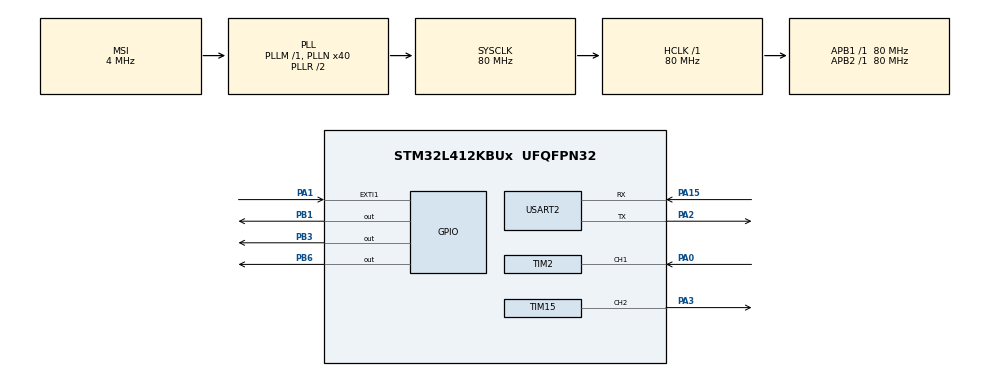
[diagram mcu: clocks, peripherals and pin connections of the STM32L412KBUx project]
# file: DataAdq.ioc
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Mcu.Family=STM32L4
Mcu.Name=STM32L412KBUx
Mcu.Package=UFQFPN32
NVIC.EXTI1_IRQn=true\:0\:0\:false\:false\:true\:true\:true
NVIC.PriorityGroup=NVIC_PRIORITYGROUP_4
NVIC.TIM6_IRQn=true\:0\:0\:false\:false\:true\:true\:true
NVIC.USART2_IRQn=true\:0\:0\:false\:false\:true\:true\:true
PA0-CK_IN.Signal=S_TIM2_CH1
PA1.GPIO_ModeDefaultEXTI=GPIO_MODE_IT_FALLING
PA1.Signal=GPXTI1
PA15\ (JTDI).Mode=Asynchronous
PA15\ (JTDI).Signal=USART2_RX
PA2.Mode=Asynchronous
PA2.Signal=USART2_TX
PA3.Signal=S_TIM15_CH2
PB1.Signal=GPIO_Output
PB3\ (JTDO/TRACESWO).Signal=GPIO_Output
PB6.Signal=GPIO_Output
ProjectManager.HeapSize=0x200
ProjectManager.StackSize=0x400
ProjectManager.TargetToolchain=MDK-ARM V5.32
RCC.ADCFreq_Value=80000000
RCC.AHBFreq_Value=80000000
RCC.APB1Freq_Value=80000000
RCC.APB1TimFreq_Value=80000000
RCC.APB2Freq_Value=80000000
RCC.APB2TimFreq_Value=80000000
RCC.CortexFreq_Value=80000000
RCC.HCLKFreq_Value=80000000
RCC.HSE_VALUE=8000000
RCC.HSI48_VALUE=48000000
RCC.HSI_VALUE=16000000
RCC.LSE_VALUE=32768
RCC.MSI_VALUE=4000000
RCC.PLLN=40
RCC.SYSCLKFreq_VALUE=80000000
RCC.SYSCLKSource=RCC_SYSCLKSOURCE_PLLCLK
RCC.USBFreq_Value=4000000
RCC.VCOOutputFreq_Value=160000000
SH.S_TIM15_CH2.0=TIM15_CH2,PWM Generation2 CH2
SH.S_TIM2_CH1.0=TIM2_CH1,TriggerSource_TI1FP1
TIM15.Channel-PWM\ Generation2\ CH2=TIM_CHANNEL_2
TIM15.Period=400-1
TIM15.Prescaler=8-1
TIM6.Period=4000-1
TIM6.Prescaler=80-1
USART2.VirtualMode-Asynchronous=VM_ASYNC
VP_TIM2_VS_ControllerModeClock.Mode=Clock Mode
VP_TIM6_VS_ClockSourceINT.Mode=Enable_Timer
board=custom

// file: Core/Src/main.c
/* USER CODE BEGIN Header */
/**
  ******************************************************************************
  * @file           : main.c
  * @brief          : Main program body
  ******************************************************************************
  * @attention
  *
  * <h2><center>&copy; Copyright (c) 2021 STMicroelectronics.
  * All rights reserved.</center></h2>
  *
  * This software component is licensed by ST under BSD 3-Clause license,
  * the "License"; You may not use this file except in compliance with the
  * License. You may obtain a copy of the License at:
  *                        opensource.org/licenses/BSD-3-Clause
  *
  ******************************************************************************
  */
/* USER CODE END Header */
#include "main.h"
#include "tim.h"
#include "usart.h"
#include "gpio.h"

/* USER CODE BEGIN Includes */
#include <stdio.h>
#include <string.h>
#include <stdlib.h>
/* USER CODE END Includes */

/* USER CODE BEGIN PM */
#define S						120									//cantidad de pulsos por vuelta
#define Ts					20E-3								//tiempo de muestreo
/* USER CODE END PM */

/* USER CODE BEGIN PV */
uint32_t 	pulse;												//pulsos del encoder
float			rpm;													//RPM
float 		radS;													//velocidad en rad/s
float ref	 = 20;															//referencia
uint16_t U;															//valor uk calculado
char buffer[100];
uint8_t byte;
uint8_t i;
uint8_t state = 1;
/*esta estructuca contiene las variables presentes y pasadas del controlador*/
typedef struct{
	/*error*/
	float ePresent;
	float ePast;     //ek_1
	/*termino proporcional*/
	float PPresent;
	/*termino integral*/
	float IPresent;
	float IPast;
	/*termino derivativo*/
	float DPresent;
	float DPast;
	/*salida medida*/
	float yPresent;
	float yPast;
	/*salida del wind up*/
	float wPresent;
	float wPast;
	/*salida del saturador*/
	float uPresent;
	float uPast;
	/*salida del controlador*/
	float vPresent;
	float vPast;
	/*valores maximos y minimos del saturador*/
	uint16_t Vmax;
	uint16_t Vmin;
}PID_Def_t;

PID_Def_t MOTOR_DC;

/* USER CODE END PV */

void SystemClock_Config(void);
/* USER CODE BEGIN PFP */
/**
 * @brief esta funcion inicializa algunos parametros de PID_Def_t
 * @param PID_Def_t
 * @param vMax : valor maximo del saturador
 * @param vMin : valor minimo del saturador
*/
void PID_Config(PID_Def_t *pPID, uint16_t vMin,uint16_t vMax);

/**
 * @brief esta funcion calcula el valor u(k)
 * @param PID_Def_t
 * @param y  : valor de la velocidad medida en Ts
 * @retval u : retorna el valor de u(k)
*/
uint16_t Calculate_PID(PID_Def_t *pPID,float r, float y);

/* USER CODE END PFP */

int main(void)
{

  /* MCU Configuration--------------------------------------------------------*/

  /* Reset of all peripherals, Initializes the Flash interface and the Systick. */
  HAL_Init();

  /* Configure the system clock */
  SystemClock_Config();

  /* Initialize all configured peripherals */
  MX_GPIO_Init();
  MX_TIM2_Init();
  MX_TIM6_Init();
  MX_TIM15_Init();
  MX_USART2_UART_Init();
  /* USER CODE BEGIN 2 */
	HAL_GPIO_WritePin(GPIOB, GPIO_PIN_1, GPIO_PIN_SET);
  HAL_GPIO_WritePin(GPIOB, GPIO_PIN_6, GPIO_PIN_RESET);
  HAL_TIM_PWM_Start(&htim15, TIM_CHANNEL_2);		//salida PWM

	PID_Config(&MOTOR_DC,0,100-1);
	HAL_UART_Receive_IT(&huart2,&byte,1);
	HAL_TIM_Base_Start_IT(&htim6);										//inicia el muestreo
	HAL_TIM_Base_Start(&htim2);												//inicia el timer2 para que capture los pulsos del encoder
	__HAL_TIM_SET_COMPARE(&htim15,TIM_CHANNEL_2,0);	//duty 0%
	HAL_GPIO_WritePin(GPIOB,GPIO_PIN_3,GPIO_PIN_SET);
  /* USER CODE END 2 */

  /* Infinite loop */
  while (1)
  {

  }
}

void SystemClock_Config(void)
{
  RCC_OscInitTypeDef RCC_OscInitStruct = {0};
  RCC_ClkInitTypeDef RCC_ClkInitStruct = {0};

  /** Configure the main internal regulator output voltage
  */
  if (HAL_PWREx_ControlVoltageScaling(PWR_REGULATOR_VOLTAGE_SCALE1) != HAL_OK)
  {
    Error_Handler();
  }
  /** Initializes the RCC Oscillators according to the specified parameters
  * in the RCC_OscInitTypeDef structure.
  */
  RCC_OscInitStruct.OscillatorType = RCC_OSCILLATORTYPE_MSI;
  RCC_OscInitStruct.MSIState = RCC_MSI_ON;
  RCC_OscInitStruct.MSICalibrationValue = 0;
  RCC_OscInitStruct.MSIClockRange = RCC_MSIRANGE_6;
  RCC_OscInitStruct.PLL.PLLState = RCC_PLL_ON;
  RCC_OscInitStruct.PLL.PLLSource = RCC_PLLSOURCE_MSI;
  RCC_OscInitStruct.PLL.PLLM = 1;
  RCC_OscInitStruct.PLL.PLLN = 40;
  RCC_OscInitStruct.PLL.PLLQ = RCC_PLLQ_DIV2;
  RCC_OscInitStruct.PLL.PLLR = RCC_PLLR_DIV2;
  if (HAL_RCC_OscConfig(&RCC_OscInitStruct) != HAL_OK)
  {
    Error_Handler();
  }
  /** Initializes the CPU, AHB and APB buses clocks
  */
  RCC_ClkInitStruct.ClockType = RCC_CLOCKTYPE_HCLK|RCC_CLOCKTYPE_SYSCLK
                              |RCC_CLOCKTYPE_PCLK1|RCC_CLOCKTYPE_PCLK2;
  RCC_ClkInitStruct.SYSCLKSource = RCC_SYSCLKSOURCE_PLLCLK;
  RCC_ClkInitStruct.AHBCLKDivider = RCC_SYSCLK_DIV1;
  RCC_ClkInitStruct.APB1CLKDivider = RCC_HCLK_DIV1;
  RCC_ClkInitStruct.APB2CLKDivider = RCC_HCLK_DIV1;

  if (HAL_RCC_ClockConfig(&RCC_ClkInitStruct, FLASH_LATENCY_4) != HAL_OK)
  {
    Error_Handler();
  }
}

/* USER CODE BEGIN 4 */
//void HAL_GPIO_EXTI_Callback(uint16_t GPIO_Pin)
//{
//	if(GPIO_Pin == GPIO_PIN_1){
//		if(state == 1){
//			HAL_TIM_Base_Start_IT(&htim6);										//inicia el muestreo
//			HAL_TIM_Base_Start(&htim2);												//inicia el timer2 para que capture los pulsos del encoder
//			__HAL_TIM_SET_COMPARE(&htim15,TIM_CHANNEL_2,0);	//duty 0%
//			HAL_GPIO_WritePin(GPIOB,GPIO_PIN_3,GPIO_PIN_SET);
//
//			state = 0;
//		}else{
//			HAL_TIM_Base_Stop_IT(&htim6);
//			HAL_TIM_Base_Stop(&htim2);
//			__HAL_TIM_SET_COMPARE(&htim15,TIM_CHANNEL_2,0);	//duty 0%
//			HAL_GPIO_WritePin(GPIOB,GPIO_PIN_3,GPIO_PIN_RESET);
//			state = 1;
//		}
//
//
//	}

//	return;
//}

void HAL_UART_RxCpltCallback(UART_HandleTypeDef *huart)
{
	if(byte == 'x'){
		HAL_GPIO_TogglePin(GPIOB,GPIO_PIN_3);
		ref = atof(buffer);
		memset(buffer,0,i);
		i = 0;
	}else{
		buffer[i] = byte;
		i++;
	}

	HAL_UART_Receive_IT(&huart2,&byte,1);

}

void HAL_TIM_PeriodElapsedCallback(TIM_HandleTypeDef *htim)
{
	if(htim == &htim6){
/****************************************************************************/
		pulse = __HAL_TIM_GET_COUNTER(&htim2);
		rpm = pulse * 60.0 /(Ts * S);				//se calcula el RPM
		radS = rpm  *(2*3.141592)/60;				//velocidad en Rad/s
		__HAL_TIM_SET_COUNTER(&htim2,0);
/*****************************************************************************/
		U = Calculate_PID(&MOTOR_DC,ref,radS);
		__HAL_TIM_SET_COMPARE(&htim15,TIM_CHANNEL_2,U);	//duty
		printf("%.2f\r\n",radS);
	}
	return;
}

/*******************DEFINICION DE FUNCIONES PARA EL PID********************/
void PID_Config(PID_Def_t *pPID, uint16_t vMin,uint16_t vMax){
	/*se pone todos los valores a 0*/
	memset(pPID,0,sizeof(PID_Def_t));
	pPID->Vmax = vMax;
	pPID->Vmin = vMin;
}

uint16_t Calculate_PID(PID_Def_t *pPID,float r, float y){
	//se obtiene la medida
	pPID->yPresent = y;
	//se calcula el error
	pPID->ePresent = r - pPID->yPresent;
	//termino proporcional
	pPID->PPresent = -0.008589* pPID->ePresent;
	//termino integral
	pPID->IPresent =(float)( pPID->IPast + 0.00555*pPID->ePast);
	//termino derivativo con filtro
	pPID->DPresent = (float)(0.1353352*pPID->DPast + 0.01067*pPID->yPresent - 0.01067*pPID->yPast);

	//se halla v(k)
	pPID->vPresent = pPID->PPresent + pPID->IPresent + pPID->DPresent + pPID->wPresent;

	//se pasa por el saturador
	if(pPID->vPresent > pPID->Vmax)
		pPID->vPresent = pPID->Vmax;
	else if (pPID->vPresent < pPID->Vmin)
		pPID->vPresent = pPID->Vmin;
	//wind up
	pPID->wPresent = (float)(pPID->wPast + 0.4*(pPID->uPast - pPID->vPast));

	//se actuliza el valor de la salida
	pPID->uPresent = pPID->vPresent;

	//se actulizan los valores pasados
	pPID->DPast = pPID->DPresent;
	pPID->IPast = pPID->IPresent;
	pPID->wPast = pPID->wPresent;
	pPID->uPast = pPID->uPresent;
	pPID->vPast = pPID->vPresent;
	pPID->ePast = pPID->ePresent;
	pPID->yPast = pPID->yPresent;

	//se retorna el valor calculado
	return (uint16_t)(pPID->uPresent);
}

/* USER CODE END 4 */

void Error_Handler(void)
{
  __disable_irq();
  while (1)
  {
  }
}

/************************ (C) COPYRIGHT STMicroelectronics *****END OF FILE****/
